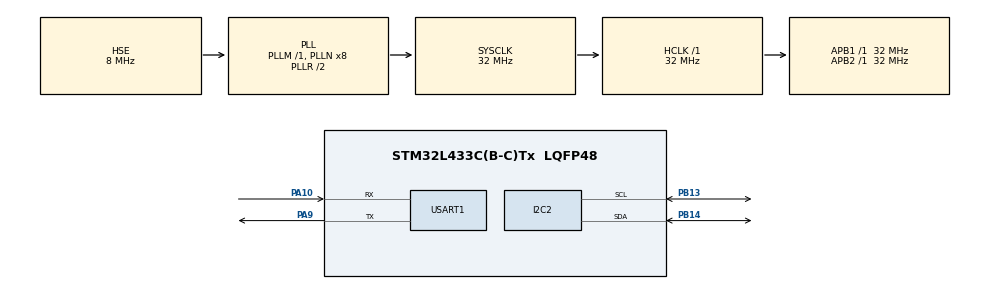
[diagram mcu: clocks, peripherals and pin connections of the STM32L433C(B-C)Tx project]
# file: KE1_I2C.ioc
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Mcu.Family=STM32L4
RCC.MSI_VALUE=4000000
RCC.PLLSourceVirtual=RCC_PLLSOURCE_HSE
RCC.CortexFreq_Value=32000000
PA10.Mode=Asynchronous
PH0-OSC_IN\ (PH0).Signal=RCC_OSC_IN
I2C2.Timing=0x00707CBB
PB13.Signal=I2C2_SCL
PH1-OSC_OUT\ (PH1).Signal=RCC_OSC_OUT
RCC.SYSCLKSource=RCC_SYSCLKSOURCE_PLLCLK
ProjectManager.StackSize=0x400
USART1.VirtualMode-Asynchronous=VM_ASYNC
PA9.Mode=Asynchronous
ProjectManager.TargetToolchain=STM32CubeIDE
RCC.HCLKFreq_Value=32000000
RCC.APB2TimFreq_Value=32000000
PA9.Signal=USART1_TX
RCC.USBFreq_Value=32000000
RCC.LSE_VALUE=32768
RCC.AHBFreq_Value=32000000
PB14.Signal=I2C2_SDA
PH1-OSC_OUT\ (PH1).Mode=HSE-External-Oscillator
RCC.HSE_VALUE=8000000
board=custom
RCC.VCOOutputFreq_Value=64000000
RCC.APB2Freq_Value=32000000
PB14.Mode=I2C
RCC.ADCFreq_Value=32000000
Mcu.Name=STM32L433C(B-C)Tx
RCC.SYSCLKFreq_VALUE=32000000
Mcu.Package=LQFP48
PA10.Signal=USART1_RX
ProjectManager.HeapSize=0x200
RCC.HSI_VALUE=16000000
NVIC.PriorityGroup=NVIC_PRIORITYGROUP_4
RCC.APB1TimFreq_Value=32000000
PB13.Mode=I2C
RCC.APB1Freq_Value=32000000
PH0-OSC_IN\ (PH0).Mode=HSE-External-Oscillator
RCC.HSI48_VALUE=48000000

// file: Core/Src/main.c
/* USER CODE BEGIN Header */
/**
  ******************************************************************************
  * @file           : main.c
  * @brief          : Main program body
  ******************************************************************************
  * @attention
  *
  * <h2><center>&copy; Copyright (c) 2021 STMicroelectronics.
  * All rights reserved.</center></h2>
  *
  * This software component is licensed by ST under BSD 3-Clause license,
  * the "License"; You may not use this file except in compliance with the
  * License. You may obtain a copy of the License at:
  *                        opensource.org/licenses/BSD-3-Clause
  *
  ******************************************************************************
  */
/* USER CODE END Header */
#include "main.h"
#include "i2c.h"
#include "usart.h"
#include "gpio.h"

/* USER CODE BEGIN Includes */
#include <stdio.h>
/* USER CODE END Includes */

void SystemClock_Config(void);

int main(void)
{

  /* MCU Configuration--------------------------------------------------------*/

  /* Reset of all peripherals, Initializes the Flash interface and the Systick. */
  HAL_Init();

  /* Configure the system clock */
  SystemClock_Config();

  /* Initialize all configured peripherals */
  MX_GPIO_Init();
  MX_I2C2_Init();
  MX_USART1_UART_Init();
  /* USER CODE BEGIN 2 */
  uint8_t cmd_buff[2] = {0}, read_buff[6] = {0};

  // 发送命令初始化传感器
  //0x30A2
  cmd_buff[0] = 0x30;
  cmd_buff[1] = 0xA2;
  HAL_I2C_Master_Transmit(&hi2c2, 0x88,cmd_buff,2,0xffff);
  HAL_Delay(25);
  //0x2220
  cmd_buff[0] = 0x22;
  cmd_buff[1] = 0x20;
  HAL_I2C_Master_Transmit(&hi2c2, 0x88,cmd_buff,2,0xffff);
  HAL_Delay(25);

  /* USER CODE END 2 */

  /* Infinite loop */
  while (1)
  {

    /* USER CODE BEGIN 3 */

	  // 读取传感器数据
	  //0xE000
	  cmd_buff[0] = 0xE0;
	  cmd_buff[1] = 0x00;
	  HAL_I2C_Master_Transmit(&hi2c2, 0x88,cmd_buff,2,0xffff);

	  //read value
	  if(HAL_I2C_Master_Receive(&hi2c2, 0x89,read_buff,6,0xffff) != HAL_OK)
	  {
	  	return HAL_ERROR;
	  }
	  printf("I2C:%02X-%02X-%02X-%02X-%02X-%02X\r\n", read_buff[0], read_buff[1], read_buff[2], read_buff[3], read_buff[4], read_buff[5]);
	  HAL_Delay(1000);

  }
  /* USER CODE END 3 */
}

void SystemClock_Config(void)
{
  RCC_OscInitTypeDef RCC_OscInitStruct = {0};
  RCC_ClkInitTypeDef RCC_ClkInitStruct = {0};
  RCC_PeriphCLKInitTypeDef PeriphClkInit = {0};

  /** Initializes the RCC Oscillators according to the specified parameters
  * in the RCC_OscInitTypeDef structure.
  */
  RCC_OscInitStruct.OscillatorType = RCC_OSCILLATORTYPE_HSE;
  RCC_OscInitStruct.HSEState = RCC_HSE_ON;
  RCC_OscInitStruct.PLL.PLLState = RCC_PLL_ON;
  RCC_OscInitStruct.PLL.PLLSource = RCC_PLLSOURCE_HSE;
  RCC_OscInitStruct.PLL.PLLM = 1;
  RCC_OscInitStruct.PLL.PLLN = 8;
  RCC_OscInitStruct.PLL.PLLP = RCC_PLLP_DIV7;
  RCC_OscInitStruct.PLL.PLLQ = RCC_PLLQ_DIV2;
  RCC_OscInitStruct.PLL.PLLR = RCC_PLLR_DIV2;
  if (HAL_RCC_OscConfig(&RCC_OscInitStruct) != HAL_OK)
  {
    Error_Handler();
  }
  /** Initializes the CPU, AHB and APB buses clocks
  */
  RCC_ClkInitStruct.ClockType = RCC_CLOCKTYPE_HCLK|RCC_CLOCKTYPE_SYSCLK
                              |RCC_CLOCKTYPE_PCLK1|RCC_CLOCKTYPE_PCLK2;
  RCC_ClkInitStruct.SYSCLKSource = RCC_SYSCLKSOURCE_PLLCLK;
  RCC_ClkInitStruct.AHBCLKDivider = RCC_SYSCLK_DIV1;
  RCC_ClkInitStruct.APB1CLKDivider = RCC_HCLK_DIV1;
  RCC_ClkInitStruct.APB2CLKDivider = RCC_HCLK_DIV1;

  if (HAL_RCC_ClockConfig(&RCC_ClkInitStruct, FLASH_LATENCY_1) != HAL_OK)
  {
    Error_Handler();
  }
  PeriphClkInit.PeriphClockSelection = RCC_PERIPHCLK_USART1|RCC_PERIPHCLK_I2C2;
  PeriphClkInit.Usart1ClockSelection = RCC_USART1CLKSOURCE_PCLK2;
  PeriphClkInit.I2c2ClockSelection = RCC_I2C2CLKSOURCE_PCLK1;
  if (HAL_RCCEx_PeriphCLKConfig(&PeriphClkInit) != HAL_OK)
  {
    Error_Handler();
  }
  /** Configure the main internal regulator output voltage
  */
  if (HAL_PWREx_ControlVoltageScaling(PWR_REGULATOR_VOLTAGE_SCALE1) != HAL_OK)
  {
    Error_Handler();
  }
}

void Error_Handler(void)
{
  __disable_irq();
  while (1)
  {
  }
}

/************************ (C) COPYRIGHT STMicroelectronics *****END OF FILE****/
